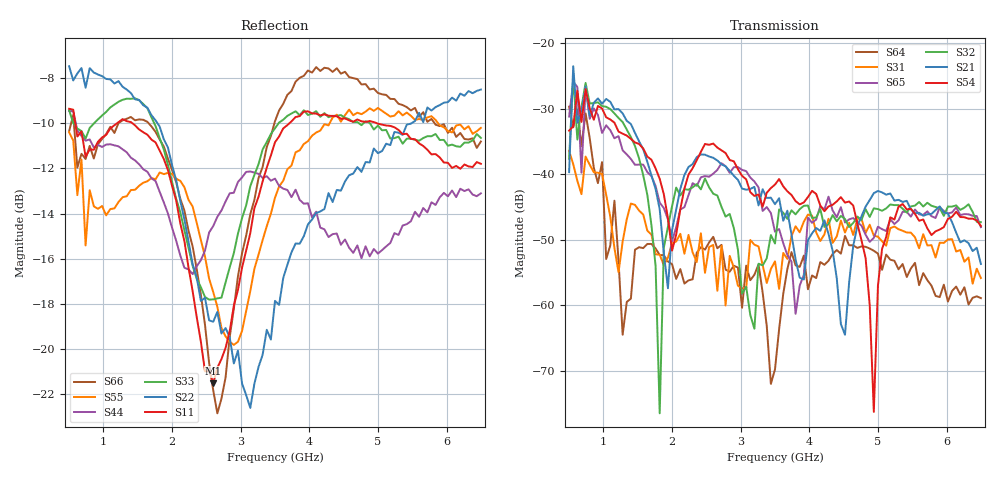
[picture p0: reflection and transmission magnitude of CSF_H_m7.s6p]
!Keysight Technologies,M9804A,MY58100912,A.14.10.03
!Date: Thursday, April 27, 2023 10:28:33
!Correction: S11(C  6-Port  )
!S12(C  6-Port  )
!S13(C  6-Port  )
!S14(C  6-Port  )
!S15(C  6-Port  )
!S16(C  6-Port  )
!S21(C  6-Port  )
!S22(C  6-Port  )
!S23(C  6-Port  )
!S24(C  6-Port  )
!S25(C  6-Port  )
!S26(C  6-Port  )
!S31(C  6-Port  )
!S32(C  6-Port  )
!S33(C  6-Port  )
!S34(C  6-Port  )
!S35(C  6-Port  )
!S36(C  6-Port  )
!S41(C  6-Port  )
!S42(C  6-Port  )
!S43(C  6-Port  )
!S44(C  6-Port  )
!S45(C  6-Port  )
!S46(C  6-Port  )
!S51(C  6-Port  )
!S52(C  6-Port  )
!S53(C  6-Port  )
!S54(C  6-Port  )
!S55(C  6-Port  )
!S56(C  6-Port  )
!S61(C  6-Port  )
!S62(C  6-Port  )
!S63(C  6-Port  )
!S64(C  6-Port  )
!S65(C  6-Port  )
!S66(C  6-Port  )
!S6P File: Measurement: :
# Hz S  RI  R 50
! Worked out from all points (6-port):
!   101 points, 500 MHz to 6.5 GHz, reference 50 ohm
!   strongest paths, dB at 500 MHz, 2 GHz, 3.5 GHz, 5 GHz, 6.5 GHz:
!     S54: -33.3, -51.7, -41.6, -57.0, -47.9
!     S21: -39.7, -48.5, -44.6, -42.6, -53.7
!     S32: -37.6, -44.9, -50.6, -45.3, -47.3
!     S65: -31.2, -50.2, -48.8, -48.0, -48.1
!     S31: -36.5, -50.6, -53.3, -49.5, -55.9
!     S64: -29.7, -53.8, -69.8, -52.1, -58.9
!   lowest |S11| = -21.5 dB at 2.6 GHz (marker M1), VSWR 1.18, Z = 42.5 + j2.16 ohm
!   |S11| at or under -10 dB: 590 MHz to 1.201 GHz (611.3 MHz wide, 68.2 % of centre); 1.419 GHz to 3.712 GHz (2.293 GHz wide, 89.4 % of centre); 4.978 GHz to end of sweep
